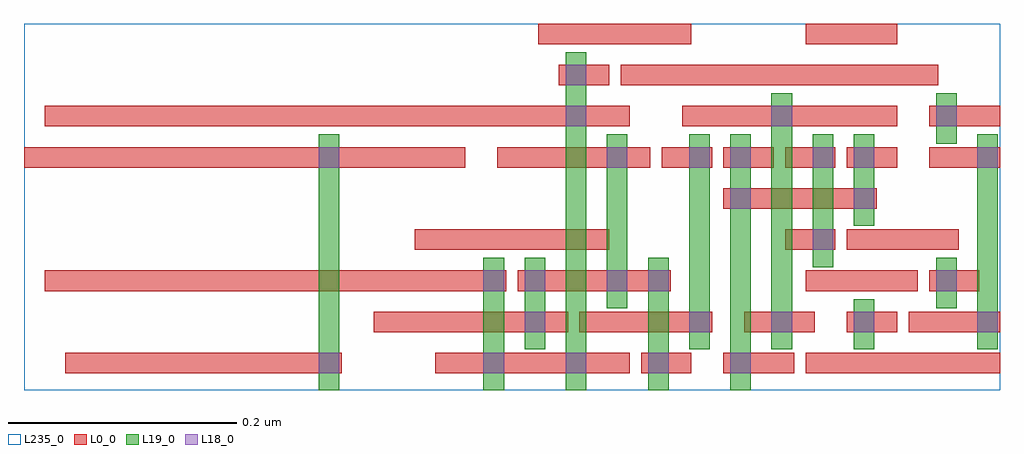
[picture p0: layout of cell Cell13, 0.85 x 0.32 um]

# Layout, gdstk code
import gdstk
lib = gdstk.Library(unit=1e-6, precision=2.5e-10)
def R(c, l, rs):  # rectangles x0, y0, x1, y1
    for r in rs: c.add(gdstk.rectangle(r[:2], r[2:], *l))
def A(c, l, x, y, w, h, nx, ny, dx, dy):  # array of equal rectangles
    R(c, l, [(x+i*dx, y+j*dy, x+i*dx+w, y+j*dy+h) for i in range(nx) for j in range(ny)])
L0_0 = (0, 0)
L18_0 = (18, 0)
L19_0 = (19, 0)
L235_0 = (235, 0)

cell13 = lib.new_cell('Cell13')
A(cell13, L0_0, 0.562, 0.179, 0.044, 0.018, 4, 1, 0.054, 0)
R(cell13, L0_0, [(0.04,-0.001,0.282,0.017), (0.364,-0.001,0.534,0.017), (0.544,-0.001,0.588,0.017), (0.616,-0.001,0.678,0.017), (0.688,-0.001,0.858,0.017), (0.31,0.035,0.48,0.053), (0.49,0.035,0.606,0.053), (0.634,0.035,0.696,0.053), (0.724,0.035,0.768,0.053), (0.778,0.035,0.858,0.053), (0.022,0.071,0.426,0.089), (0.436,0.071,0.57,0.089), (0.688,0.071,0.786,0.089), (0.796,0.071,0.84,0.089), (0.346,0.107,0.516,0.125), (0.67,0.107,0.714,0.125), (0.724,0.107,0.822,0.125), (0.616,0.143,0.75,0.161), (0.004,0.179,0.39,0.197), (0.418,0.179,0.552,0.197), (0.796,0.179,0.858,0.197), (0.022,0.215,0.534,0.233), (0.58,0.215,0.768,0.233), (0.796,0.215,0.858,0.233), (0.472,0.251,0.516,0.269), (0.526,0.251,0.804,0.269), (0.454,0.287,0.588,0.305), (0.688,0.287,0.768,0.305)])
A(cell13, L18_0, 0.406, -0.001, 0.018, 0.018, 4, 1, 0.072, 0)
A(cell13, L18_0, 0.586, 0.035, 0.018, 0.018, 3, 1, 0.072, 0)
R(cell13, L18_0, [(0.262,-0.001,0.28,0.017), (0.442,0.035,0.46,0.053), (0.838,0.035,0.856,0.053), (0.406,0.071,0.424,0.089), (0.442,0.071,0.46,0.089), (0.514,0.071,0.532,0.089), (0.55,0.071,0.568,0.089), (0.802,0.071,0.82,0.089), (0.694,0.107,0.712,0.125), (0.622,0.143,0.64,0.161), (0.73,0.143,0.748,0.161), (0.262,0.179,0.28,0.197), (0.514,0.179,0.532,0.197), (0.586,0.179,0.604,0.197), (0.622,0.179,0.64,0.197), (0.694,0.179,0.712,0.197), (0.73,0.179,0.748,0.197), (0.838,0.179,0.856,0.197), (0.478,0.215,0.496,0.233), (0.658,0.215,0.676,0.233), (0.802,0.215,0.82,0.233), (0.478,0.251,0.496,0.269)])
R(cell13, L19_0, [(0.262,-0.016,0.28,0.208), (0.406,-0.016,0.424,0.1), (0.478,-0.016,0.496,0.28), (0.55,-0.016,0.568,0.1), (0.622,-0.016,0.64,0.208), (0.442,0.02,0.46,0.1), (0.586,0.02,0.604,0.208), (0.658,0.02,0.676,0.244), (0.73,0.02,0.748,0.064), (0.838,0.02,0.856,0.208), (0.514,0.056,0.532,0.208), (0.802,0.056,0.82,0.1), (0.694,0.092,0.712,0.208), (0.73,0.128,0.748,0.208), (0.802,0.2,0.82,0.244)])
R(cell13, L235_0, [(0.004,-0.016,0.858,0.305)])

lib.write_gds('Cell13.gds')
